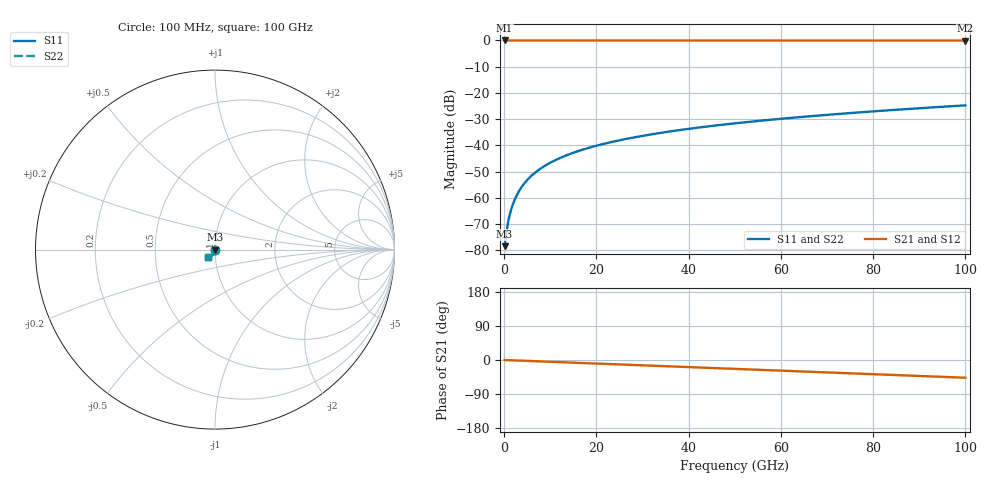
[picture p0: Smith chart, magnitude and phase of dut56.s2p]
! Touchstone file exported from HFSS 2026.1.0
!  File:  C:/ffzhzh/LocalFiles/Ansys_Project_Files/temp_train_TSV_56_1783505016_44152.aedt
!  Generated:  06:04:55 PM Jul  8, 2026
!  Design:  TSV
!  Project:  temp_train_TSV_56_1783505016_44152
! Variables:
!  h_bsmrdl = 2um
!  h_ox = 20um
!  h_rdl = 5um
!  h_sub = 96.51um
!  h_tmrdl = 5um
!  h_tsv = 96.51um
!  h_via = 3um
!  l_bsmrdl = 300um
!  l_sub = 423.12um
!  l_tmrdl = 200um
!  m_sub = 200um
!  pitch = 44.01um
!  r_tsv = 11.56um
!  s_tmrdl = 10um
!  w_bsmrdl = 18um
!  w_sub = 500um
!  w_tmrdl = 12um
!  x_tsv_center1 = 206um
!  x_tsv_center2 = 524um
!  x_tsv_center3 = 736um
!  x_tsv_center4 = 1054um
!  x_tsv_center5 = 1266um
!  x_tsv_center6 = 1584um
# GHz S MA R 50.000000
! Terminal data exported
! Port[1] = TSV1_1_T1
! Port[2] = TSV1_1_T2
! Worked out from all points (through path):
!   1000 points, 100 MHz to 100 GHz, reference 50 ohm
!   highest |S21| = 0.00 dB at 100 MHz (marker M1); lowest = 0.0 dB at 100 GHz (marker M2)
!   group delay of S21, straight-line fit = 1.3 ps
!   lowest |S11| = -78.5 dB at 100 MHz (marker M3), VSWR 1.00, Z = 50 + j0.000147 ohm
!   |S11| at or under -10 dB: start of sweep to end of sweep
!   |S22| runs from -78.5 to -24.8 dB; largest |S21 - S12| = 1e-14
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0.1  0.0001193 0.7  0.9999 -0.0  0.9999 -0.0  0.0001193 0.7
! Gamma 0 0 0 0
! Port Impedance 50 0 50 0
0.4  0.0001878 -10.3  0.9998 -0.2  0.9998 -0.2  0.0001878 -10.3
0.9  0.0003582 -35.3  0.9997 -0.4  0.9997 -0.4  0.0003582 -35.3
1.1  0.0004329 -42.0  0.9997 -0.5  0.9997 -0.5  0.0004329 -42.0
1.5  0.0005891 -51.1  0.9996 -0.7  0.9996 -0.7  0.0005891 -51.1
1.9  0.0007532 -57.0  0.9996 -0.9  0.9996 -0.9  0.0007533 -57.0
2.5  0.001012 -62.8  0.9995 -1.2  0.9995 -1.2  0.001012 -62.8
3.1  0.001282 -66.6  0.9995 -1.5  0.9995 -1.5  0.001282 -66.6
3.8  0.001607 -69.9  0.9994 -1.8  0.9994 -1.8  0.001607 -69.9
4.6  0.001987 -72.8  0.9993 -2.2  0.9993 -2.2  0.001987 -72.8
5.6  0.00247 -75.5  0.9993 -2.6  0.9993 -2.6  0.00247 -75.5
6.7  0.003008 -77.9  0.9992 -3.2  0.9992 -3.2  0.003008 -77.9
9.4  0.004352 -81.9  0.999 -4.4  0.999 -4.4  0.004353 -81.9
12.7  0.006034 -85.4  0.9989 -6.0  0.9989 -6.0  0.006034 -85.4
16.8  0.008152 -88.9  0.9987 -7.9  0.9987 -7.9  0.008152 -88.9
24.1  0.01199 -94.0  0.9984 -11.3  0.9984 -11.3  0.01199 -94.0
33.4  0.01699 -99.6  0.998 -15.6  0.998 -15.6  0.01699 -99.6
41.2  0.02129 -104.0  0.9977 -19.3  0.9977 -19.3  0.02129 -104.0
50.1  0.02632 -108.8  0.9974 -23.4  0.9974 -23.4  0.02632 -108.7
66.7  0.0361 -117.4  0.9967 -31.2  0.9967 -31.2  0.03611 -117.4
83.4  0.04661 -125.9  0.9958 -39.0  0.9958 -39.0  0.04661 -125.9
100  0.05785 -134.3  0.9948 -46.8  0.9948 -46.8  0.05785 -134.3
